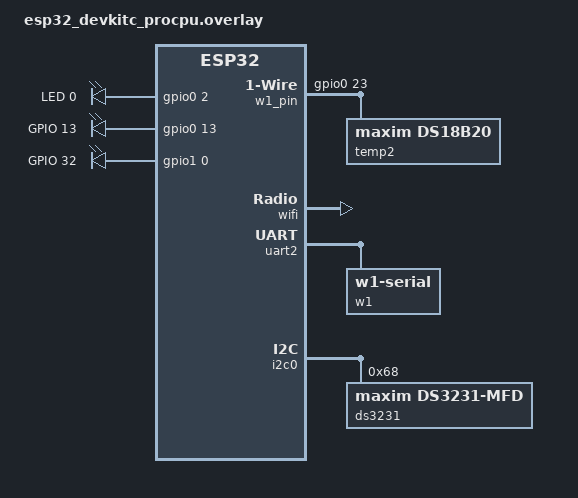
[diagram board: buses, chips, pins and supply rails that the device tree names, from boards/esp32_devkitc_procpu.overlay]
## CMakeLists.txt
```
# SPDX-License-Identifier: Apache-2.0

cmake_minimum_required(VERSION 3.20.0)

find_package(Zephyr REQUIRED HINTS $ENV{ZEPHYR_BASE})
project(wifi)

FILE(GLOB app_sources src/*.cpp)
target_sources(app PRIVATE ${app_sources})
target_include_directories(app PRIVATE src)
```

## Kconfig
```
menu "Zephyr"
source "Kconfig.zephyr"
endmenu





module = APP
module-str = APP

config NET_SAMPLE_SNTP_SERVER_ADDRESS
	string "SNTP server address"
	default "ptbtime1.ptb.de"

config NET_SAMPLE_SNTP_SERVER_PORT
	int "SNTP server port"
	default 123

config NET_SAMPLE_SNTP_SERVER_TIMEOUT_MS
	int "Duration to wait for response"
	default 2000

rsource "../Kconfig"
source "subsys/logging/Kconfig.template.log_config"
```

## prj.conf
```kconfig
CONFIG_EARLY_CONSOLE=y
CONFIG_TEST_RANDOM_GENERATOR=y
CONFIG_STD_CPP17=y
CONFIG_REQUIRES_FULL_LIBCPP=y
CONFIG_INIT_STACKS=y
CONFIG_TURTLE_WEB=y
CONFIG_WEB_TOOLS=y
CONFIG_PUSH_OVER=y

# Hw Stuff
CONFIG_W1=y
CONFIG_W1_SHELL=y
CONFIG_SENSOR=y
CONFIG_RTC=y
CONFIG_SHELL=y

# Kernel Stuff
CONFIG_ZVFS_EVENTFD_MAX=32
CONFIG_ZVFS_OPEN_MAX=16
CONFIG_ZVFS_POLL_MAX=16



# Network Configuration
CONFIG_WIFI_CONNECT=y
CONFIG_NET_STATISTICS=y
CONFIG_NET_STATISTICS_PERIODIC_OUTPUT=n
CONFIG_NET_TX_STACK_SIZE=2048
CONFIG_NET_RX_STACK_SIZE=2048
CONFIG_NET_PKT_RX_COUNT=25
CONFIG_NET_PKT_TX_COUNT=25
CONFIG_NET_BUF_RX_COUNT=25
CONFIG_NET_BUF_TX_COUNT=25
CONFIG_NET_MAX_CONTEXTS=10
CONFIG_NET_HOSTNAME_ENABLE=y
CONFIG_NET_HOSTNAME_UNIQUE=y
CONFIG_NET_HOSTNAME="kroete"
CONFIG_NET_MAX_CONN=16
CONFIG_NET_DHCPV4_SERVER=y
CONFIG_ESP32_WIFI_STA_AUTO_DHCPV4=y
CONFIG_ESP32_WIFI_AP_STA_MODE=y
CONFIG_WIFI_NM=y
CONFIG_WIFI_NM_MAX_MANAGED_INTERFACES=2
CONFIG_NET_CONFIG_AUTO_INIT=n
CONFIG_NET_CONNECTION_MANAGER=y
CONFIG_NET_IF_MAX_IPV4_COUNT=2
CONFIG_NET_MGMT_EVENT_QUEUE_SIZE=10
CONFIG_NET_MGMT_EVENT_STACK_SIZE=4096
CONFIG_NET_SOCKETS_SERVICE_STACK_SIZE=4096
CONFIG_SNTP=y
CONFIG_HTTP_SERVER_MAX_HEADER_LEN=256

# Enable the DNS resolver
CONFIG_DNS_RESOLVER=y
# Enable additional buffers
CONFIG_DNS_RESOLVER_ADDITIONAL_BUF_CTR=5
# Enable additional queries
CONFIG_DNS_RESOLVER_ADDITIONAL_QUERIES=2
CONFIG_DNS_RESOLVER_MAX_SERVERS=2
CONFIG_DNS_SERVER_IP_ADDRESSES=y
CONFIG_DNS_NUM_CONCUR_QUERIES=5

# Use local dnsmasq server for testing
#CONFIG_DNS_SERVER1="[2001:db8::2]:15353"
#CONFIG_DNS_SERVER2="192.0.2.2:15353"

# Google DNS IPv4 and IPv6 servers
CONFIG_DNS_SERVER1="8.8.8.8"
CONFIG_DNS_SERVER2="2001:4860:4860::8888"

# LOG Configuration
CONFIG_NET_LOG=y
CONFIG_W1_LOG_LEVEL_ERR=y
#CONFIG_NET_SOCKETS_LOG_LEVEL_DBG=y
#CONFIG_NET_DHCPV4_SERVER_LOG_LEVEL_DBG=y
#CONFIG_ETHERNET_LOG_LEVEL_DBG=y
#CONFIG_NET_HTTP_SERVER_LOG_LEVEL_DBG=y
CONFIG_WIFI_LOG_LEVEL_ERR=y
#CONFIG_NET_L2_ETHERNET_LOG_LEVEL_DBG=y
#CONFIG_NET_IF_LOG_LEVEL_DBG=y
CONFIG_SYSTEM_WORKQUEUE_STACK_SIZE=4096
CONFIG_NET_TCP_WORKQ_STACK_SIZE=4096
CONFIG_MAIN_STACK_SIZE=4096
CONFIG_SHELL_STACK_SIZE=2048
CONFIG_W1_ZEPHYR_SERIAL_BIT_TIMEOUT=50000

#I2C
CONFIG_I2C=y
CONFIG_I2C_SHELL=y
CONFIG_I2C_LIB=y

#Debug Build
CONFIG_DEBUG=y

#RTC
CONFIG_RTC=y

#Watchdog
CONFIG_WDT_LOG_LEVEL_ERR=y
CONFIG_WATCHDOG=y
CONFIG_WDT_DISABLE_AT_BOOT=n
```

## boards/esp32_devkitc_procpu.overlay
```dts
/*
 * Copyright (c) 2022 Espressif Systems (Shanghai) Co., Ltd.
 *
 * SPDX-License-Identifier: Apache-2.0
 */

&wifi {
	status = "okay";
};

&uart2 {
	status = "okay";
	w1: w1 {
		compatible = "zephyr,w1-serial";
		temp1: ds18b20_1 {
			compatible = "maxim,ds18b20";
			family-code = <0x28>;
			resolution = <12>;
			status = "okay";
		};
	};
};

&i2c0 { /* SDA PTE25, SCL PTE24, ISW PTE26 */
	ds3231: ds3231@68 {
        compatible = "maxim,ds3231-mfd";
        reg = <0x68>;
        status = "okay";

        ds3231_sensor: ds3231_sensor {
                compatible = "maxim,ds3231-sensor";
                status = "okay";
        };

        ds3231_rtc: ds3231_rtc {
                compatible = "maxim,ds3231-rtc";
                status = "okay";
				isw-gpios = <&gpio0 33 (GPIO_PULL_UP | GPIO_ACTIVE_LOW)>;
        };
};
};

/ {
	aliases {
		led0 = &led0;
		marker = &pio13;
		uartw1 = &uart2;
		temp2 = &temp2;
		temp1 = &temp1;
		i2ccontroller = &i2c0;
		w1s = &w1;
		heater = &pio32;
		rtc = &ds3231_rtc;
		rtctmp = &ds3231_sensor;
	};

	wifi_ap: wifi_ap {
		compatible = "espressif,esp32-wifi";
		status = "okay";
	};

	leds {
		compatible = "gpio-leds";
		led0: led_0 {
			gpios = <&gpio0 2 GPIO_ACTIVE_HIGH>;
			label = "LED 0";
		};
		pio13: pio_13 {
			gpios = <&gpio0 13 GPIO_ACTIVE_HIGH>;
			label = "GPIO 13";
		};
		pio32: pio_32 {
			gpios = <&gpio1 0 GPIO_ACTIVE_HIGH>;
			label = "GPIO 32";
		};
	};

	w1_pin: w1_1 {
               compatible = "zephyr,w1-gpio";
               gpios = <&gpio0 23 (GPIO_ACTIVE_HIGH | GPIO_OPEN_DRAIN | GPIO_PULL_UP)>;
			   temp2: ds18b20_2 {
					compatible = "maxim,ds18b20";
					family-code = <0x28>;
					resolution = <12>;
					status = "okay";
				};
       };
};
```

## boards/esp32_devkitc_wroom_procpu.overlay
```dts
/*
 * Copyright (c) 2022 Espressif Systems (Shanghai) Co., Ltd.
 *
 * SPDX-License-Identifier: Apache-2.0
 */

&wifi {
	status = "okay";
};

/ {
	aliases {
		led0 = &led0;
	};

	leds {
		compatible = "gpio-leds";
		led0: led_0 {
			gpios = <&gpio0 2 GPIO_ACTIVE_HIGH>;
			label = "LED 0";
		};
	};
};
```

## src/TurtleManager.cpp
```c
#include "TurtleManager.h"
#include <zephyr/logging/log.h>
LOG_MODULE_REGISTER(TurtleManager, LOG_LEVEL_DBG);
namespace TurtleManager
{

    TurtleManager::TurtleManager(eeprom_24lc512::eeprom_24lc512& iEeprom, ISwitchingCallback& iSwitchingCallback)
    : mEeprom(&iEeprom)
    , mSwCallback(&iSwitchingCallback)
    {
    }

    int TurtleManager::init_eeprom()
    {
        LOG_INF("Init Data");
        mEepromData.mMagic = EEPROM_MAGIC;
        mEepromData.mVersion = EEPROM_VERSION;
        mEepromData.mValidBlock = 0;
        mEepromData.mSwitchData[1] = {};
        mEepromData.mSwitchData[0] = {};
        mEepromData.mSwitchData[0].mStartHeat.tm_hour = 8;
        mEepromData.mSwitchData[0].mEndHeat.tm_hour = 16;
        mEepromData.mSwitchData[0].mTempLevel.val1 = 15;
        int ret = mEeprom->write(0, &mEepromData, sizeof(mEepromData));
        return ret;
    }

    int TurtleManager::update_data()
    {
        int ret = mEeprom->write(0, &mEepromData, sizeof(mEepromData));
        return ret;
    }

    void TurtleManager::switch_heating_state(bool iHeatingState)
    {
        mHeatingState = iHeatingState;
        mSwCallback->switch_to(iHeatingState);
    }

    void TurtleManager::init()
    {
        int ret = mEeprom->read(0, &mEepromData, sizeof(mEepromData));
		LOG_INF("Read: Result: %d", ret);
        if(ret != 0)
        {
            return;
        }
        if(mEepromData.mMagic != EEPROM_MAGIC)
        {
            LOG_INF("EepromData Not valid");
            ret = init_eeprom();
            LOG_INF("init_eeprom: Result: %d", ret);
        }

        if(ret == 0)
        {
            mInit = true;
        }
    }

    void TurtleManager::run(rtc_time iTime, sensor_value iTemperature)
    {
        mCurrentTemperature = iTemperature; 
        uint8_t blk = mEepromData.mValidBlock;
        int32_t iTmp = iTemperature.val1;
        int32_t iTmpSwitch = mEepromData.mSwitchData[blk].mTempLevel.val1;
        int hourStart = mEepromData.mSwitchData[blk].mStartHeat.tm_hour;
        int hourEnd = mEepromData.mSwitchData[blk].mEndHeat.tm_hour;

        // swich to of if outside heating hours
        if(iTime.tm_hour < hourStart || iTime.tm_hour >= hourEnd)
        {
            if(mHeatingState)
            {
                switch_heating_state(false);
            }
            mHeatingOverride = false;
            return;
        }

        if(mHeatingOverride)
        {
            return;
        }

        // if heating swich off if incoming tmp is higher the switching tmp + hysteresis 
        if(mHeatingState)
        {
            if(iTmp > iTmpSwitch + mHYSTERESE)
            {
                switch_heating_state(false);
            }
        }
        // if not heating swich on if incoming tmp is lower the switching tmp
        else
        {
            if(iTmp <= iTmpSwitch)
            {
                switch_heating_state(true);
            }
        }

    }

    int TurtleManager::get_start_time(rtc_time &iStartTime)
    {
        uint8_t blk = mEepromData.mValidBlock;
        iStartTime = mEepromData.mSwitchData[blk].mStartHeat;
        return 0;
    }

    int TurtleManager::get_end_time(rtc_time &oEndTime)
    {
        uint8_t blk = mEepromData.mValidBlock;
        oEndTime = mEepromData.mSwitchData[blk].mEndHeat;
        return 0;
    }

    void TurtleManager::set_start_time(rtc_time& iStartTime)
    {
        uint8_t blk = mEepromData.mValidBlock;
        SwitchingData data = mEepromData.mSwitchData[blk];
        data.mStartHeat = iStartTime;
        blk ^= 1;
        mEepromData.mSwitchData[blk] = data;
        mEepromData.mValidBlock = blk;
        update_data();
    }

    void TurtleManager::set_end_time(rtc_time& iEndTime)
    {
        uint8_t blk = mEepromData.mValidBlock;
        SwitchingData data = mEepromData.mSwitchData[blk];
        data.mEndHeat = iEndTime;
        blk ^= 1;
        mEepromData.mSwitchData[blk] = data;
        mEepromData.mValidBlock = blk;
        update_data();
    }

    void TurtleManager::set_relay_state(int iRelayState)
    {
        mHeatingOverride = true;
        set_heating_state(iRelayState > 0);
    }

    void TurtleManager::update_settings(rtc_time &iStartTime, rtc_time &iEndTime, sensor_value &iSwitchingTemp)
    {
        uint8_t blk = mEepromData.mValidBlock;
        SwitchingData data = mEepromData.mSwitchData[blk];
        data.mEndHeat = iEndTime;
        data.mStartHeat = iStartTime;
        data.mTempLevel = iSwitchingTemp;
        blk ^= 1;
        mEepromData.mSwitchData[blk] = data;
        mEepromData.mValidBlock = blk;
        update_data();
        mHeatingOverride = false;
    }

    int TurtleManager::get_temp_level(sensor_value &oTempLevel)
    {
        uint8_t blk = mEepromData.mValidBlock;
        oTempLevel = mEepromData.mSwitchData[blk].mTempLevel;
        return 0;
    }

    int TurtleManager::set_temp_level(sensor_value iTempLevel)
    {
        uint8_t blk = mEepromData.mValidBlock;
        SwitchingData data = mEepromData.mSwitchData[blk];
        data.mTempLevel = iTempLevel;
        blk ^= 1;
        mEepromData.mSwitchData[blk] = data;
        mEepromData.mValidBlock = blk;
        return update_data();
    }

    int TurtleManager::get_heating_state(bool &oHeatingState)
    {
        oHeatingState = mHeatingState;
        return 0;
    }

    int TurtleManager::set_heating_state(bool iHeatingState)
    {
        switch_heating_state(iHeatingState);
        return 0;
    }

    sensor_value TurtleManager::get_temp()
    {
        return mCurrentTemperature;
    }

    sensor_value TurtleManager::get_switching_temp()
    {
        sensor_value sw_temp;
        get_temp_level(sw_temp);
        return sw_temp;
    }

    rtc_time TurtleManager::get_start_time()
    {
        rtc_time start_time;
        get_start_time(start_time);
        return start_time;
    }

    rtc_time TurtleManager::get_end_time()
    {
        rtc_time end_time;
        get_end_time(end_time);
        return end_time;
    }

    int TurtleManager::get_relay_state()
    {
        return mHeatingState? 1 : 0;
    }

    void TurtleManager::set_switching_temp(sensor_value &iSwitchingTemp)
    {
        set_temp_level(iSwitchingTemp);
    }
} // namespace TurtleManager
```

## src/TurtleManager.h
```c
#pragma once
#include <zephyr/drivers/rtc.h>
#include <zephyr/drivers/sensor.h>
#include "turtle_http_server.h"
#include "24lc512.h"

namespace TurtleManager
{
class ISwitchingCallback
{
public:
virtual ~ISwitchingCallback() = default;
virtual void switch_to(bool iValue) = 0;
};

class TurtleManager : public turtle_web::WebserverDataInterface 
{
public:
    TurtleManager(eeprom_24lc512::eeprom_24lc512& iEeprom, ISwitchingCallback& iSwitchingCallback);
    void init();
    void run(rtc_time iTime, sensor_value iTemperature);
    int get_start_time(struct rtc_time& oStartTime);
    int get_end_time(struct rtc_time& oEndTime);
    int get_temp_level(struct sensor_value& oTempLevel);
    int set_temp_level(struct sensor_value iTempLevel);
    int get_heating_state(bool& oHeatingState);
    int set_heating_state(bool iHeatingState);
    // WebserverDataInterface
    struct sensor_value get_temp() override;
    struct sensor_value get_switching_temp() override;
    struct rtc_time get_start_time() override;
    struct rtc_time get_end_time() override;
    int get_relay_state() override;
    void set_switching_temp(struct sensor_value& iSwitchingTemp) override;
    void set_start_time(struct rtc_time& iStartTimr) override;
    void set_end_time(struct rtc_time& iEndTime) override;
    void set_relay_state(int iRelayState) override;
    void update_settings(struct rtc_time& iStartTime, struct rtc_time& iEndTime, struct sensor_value& iSwitchingTemp) override;

private:
    int init_eeprom();
    int update_data();
    void switch_heating_state(bool iHeatingState);
    static constexpr uint32_t EEPROM_MAGIC = 0x0CAFFEE0;
    static constexpr uint32_t EEPROM_VERSION = 0x1;
    struct SwitchingData
    {
        struct rtc_time mStartHeat;
        struct rtc_time mEndHeat;
        struct sensor_value mTempLevel;
    };
    struct EepromData
    {
        uint32_t mMagic;
        uint32_t mVersion;
        uint8_t mValidBlock;
        SwitchingData mSwitchData[2];
    };
    eeprom_24lc512::eeprom_24lc512* mEeprom;
    EepromData mEepromData;
    sensor_value mCurrentTemperature;
    bool mHeatingState = false;
    bool mInit = false;
    bool mHeatingOverride = false;
    static constexpr int32_t mHYSTERESE = 1;
    ISwitchingCallback* mSwCallback;

};


}// namespace TurtleManager
```

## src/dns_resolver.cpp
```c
#include "dns_resolver.h"
#include <zephyr/logging/log.h>

LOG_MODULE_REGISTER(my_dns_resolver, LOG_LEVEL_DBG);

namespace dns_resolver
{
DnsResolver::DnsResolver()
{
    k_sem_init (&mSemaphor, 0, 1);
}

void DnsResolver::dns_result_cb(enum dns_resolve_status status,
		   struct dns_addrinfo *info,
		   void *user_data)
{
	char hr_addr[NET_IPV6_ADDR_LEN];
	const char *hr_family;
	void *addr;
    DnsResolver* pInstance = reinterpret_cast<DnsResolver*>(user_data);

	switch (status) {
	case DNS_EAI_CANCELED:
		LOG_INF("DNS query was canceled");
		return;
	case DNS_EAI_FAIL:
		LOG_INF("DNS resolve failed");
		return;
	case DNS_EAI_NODATA:
		LOG_INF("Cannot resolve address");
		return;
	case DNS_EAI_ALLDONE:
		LOG_INF("DNS resolving finished");
		return;
	case DNS_EAI_INPROGRESS:
		break;
	default:
		LOG_INF("DNS resolving error (%d)", status);
		return;
	}

	if (!info || !pInstance) {
		return;
	}

    pInstance->set_address_info(*info);

	if (info->ai_family == AF_INET) {
		hr_family = "IPv4";
		addr = &net_sin(&info->ai_addr)->sin_addr;
	} else if (info->ai_family == AF_INET6) {
		hr_family = "IPv6";
		addr = &net_sin6(&info->ai_addr)->sin6_addr;
	} else {
		LOG_ERR("Invalid IP address family %d", info->ai_family);
		return;
	}

	LOG_INF("%s %s address: %s", info->ai_canonname,
		hr_family,
		net_addr_ntop(info->ai_family, addr,
					 hr_addr, sizeof(hr_addr)));
}

void DnsResolver::set_address_info(struct dns_addrinfo iAdrInfo)
{
    if(!mAddressResolved)
    {
        if(mAdrInfo)
        {
            *mAdrInfo = iAdrInfo;
        }
            /* Notify test thread */
	    k_sem_give(&mSemaphor);
        mAddressResolved = true;
    }
    
}

int DnsResolver::resolve(const char *host, uint16_t port,int family, struct dns_addrinfo* oResolveInfo)
{
    if(!oResolveInfo)
    {
        return -1;
    }
    mAdrInfo = oResolveInfo;
    return dns_query(host, port, family, SOCK_DGRAM);
}

int DnsResolver::dns_query(const char *host, uint16_t port, int family, int socktype)
{
	int rv;
    static uint16_t dns_id;
	/* Perform DNS query */
    mAddressResolved = false;
    char addr_str[INET6_ADDRSTRLEN] = {0};
    k_sem_reset(&mSemaphor);
	rv = dns_get_addr_info(host,
				DNS_QUERY_TYPE_A,
				&dns_id,
				dns_result_cb,
				this,
				2 * MSEC_PER_SEC);
	if (rv < 0) {
		LOG_ERR("getaddrinfo failed (%d, errno %d)", rv, errno);
		return rv;
	}

    rv = k_sem_take(&mSemaphor, K_MSEC(CONFIG_NET_SAMPLE_SNTP_SERVER_TIMEOUT_MS));
	if (rv < 0) {
		LOG_INF("dns_get_addr_info response timed out (%d)", rv);
        return rv;
	}
	/* Store the port */
	net_sin(&mAdrInfo->ai_addr)->sin_port = htons(port);
	/* Print the found address */
	zsock_inet_ntop(mAdrInfo->ai_addr.sa_family, &net_sin(&mAdrInfo->ai_addr)->sin_addr, addr_str, sizeof(addr_str));
	LOG_INF("%s -> %s", host, addr_str);
	return 0;
}

} //dns_resolver
```

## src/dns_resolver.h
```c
#include <zephyr/net/net_if.h>
#include <zephyr/net/socket.h>
#include <zephyr/net/socket_service.h>

namespace dns_resolver
{
class DnsResolver
{
public:
    DnsResolver();
    ~DnsResolver() = default;
    int resolve(const char *host, int family, struct dns_addrinfo* oResolveInfo);
private:
    void set_finish();
    void set_address_info(struct dns_addrinfo mAdrInfo);
    static void dns_result_cb(enum dns_resolve_status status, struct dns_addrinfo *info, void *user_data);
    int dns_query(const char *host, int family, int socktype);
    struct k_sem mSemaphor;
    struct dns_addrinfo* mAdrInfo = nullptr;
    bool mAddressResolved = false;
};
} //dns_resolver
```

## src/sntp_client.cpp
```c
#include "sntp_client.h"
#include <zephyr/logging/log.h>
LOG_MODULE_REGISTER(net_sntp_client, LOG_LEVEL_ERR);


namespace sntp_client
{
int sntp_client::do_sntp_request(struct sntp_time& oTime)
{
    return do_sntp(AF_INET, oTime);
}

int sntp_client::do_sntp(int family, struct sntp_time& oTime)
{
	struct sntp_ctx ctx;
	int rv;
    const char *family_str = family == AF_INET ? "IPv4" : "IPv6";

	/* Get SNTP server */
    if(!addr_resolved)
    {
	    rv = mResolver.resolve(CONFIG_NET_SAMPLE_SNTP_SERVER_ADDRESS, family, &addrInfo);
        if (rv != 0) {
            LOG_ERR("Failed to lookup %s SNTP server (%d)", family_str, rv);
            return -1;
        }
        addr_resolved = true;
    }
    struct sockaddr addr;
    socklen_t addr_len;
    addr = addrInfo.ai_addr;
    addr_len =  addrInfo.ai_addrlen;
    char addr_str[INET6_ADDRSTRLEN] = {0};
    /* Store the port */
	net_sin(&addr)->sin_port = htons(CONFIG_NET_SAMPLE_SNTP_SERVER_PORT);
	/* Print the found address */
    const void *src = &(net_sin(&addr)->sin_addr);
	zsock_inet_ntop(addr.sa_family, src , addr_str, sizeof(addr_str));
	LOG_INF("%s -> %s", CONFIG_NET_SAMPLE_SNTP_SERVER_ADDRESS, addr_str);
	rv = sntp_init(&ctx, &addr, addr_len);
	if (rv < 0) {
		LOG_ERR("Failed to init SNTP %s ctx: %d", family_str, rv);
		goto end;
	}

	LOG_DBG("Sending SNTP %s request...", family_str);
    
    rv = sntp_query(&ctx, 4 * MSEC_PER_SEC, &oTime);
    if (rv < 0) 
    {
        LOG_ERR("SNTP %s request failed: %d", family_str, rv);
        goto end;
    }

	LOG_DBG("SNTP Time: %llu", oTime.seconds);

end:
	sntp_close(&ctx);
    return rv;
}
} // namespace sntp_client
```

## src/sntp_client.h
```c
#include <inttypes.h>
#include <zephyr/kernel.h>
#include <zephyr/net/socket.h>
#include <zephyr/net/socket_service.h>
#include <zephyr/net/sntp.h>
#include <arpa/inet.h>
#include <zephyr/net/net_if.h>
#include "dns_resolver.h"
 
namespace sntp_client
{
class sntp_client
{
public:
    sntp_client() = default;
    ~sntp_client() = default;
    int do_sntp_request(struct sntp_time& oTime);
private:
    int do_sntp(int family, struct sntp_time& oTime);
    dns_resolver::DnsResolver mResolver;
    struct dns_addrinfo addrInfo;
    bool addr_resolved = false;

};
} // namespace sntp_client
```

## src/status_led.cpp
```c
#include "status_led.h"
#include <zephyr/kernel.h>

/* The devicetree node identifier for the "led0" alias. */
#define LED0_NODE DT_ALIAS(led0)

namespace StatusLed
{
    /*
    * A build error on this line means your board is unsupported.
    * See the sample documentation for information on how to fix this.
    */
    const gpio_dt_spec StatusLed::led = GPIO_DT_SPEC_GET(LED0_NODE, gpios);
    StatusLed::StatusLed()
    {
        int ret;
        if (!gpio_is_ready_dt(&led)) {
            printf("GPIO not ready");
            return;
        }

        ret = gpio_pin_configure_dt(&led, GPIO_OUTPUT_ACTIVE);
        if (ret < 0) {
            printf("Failed to configure pin");
            return;
        }
    }

    void StatusLed::run(void* iInstance)
    {
        StatusLed* led = reinterpret_cast<StatusLed*>(iInstance);
        led->blink();
    }

    void StatusLed::start()
    {
        const int priority = K_LOWEST_APPLICATION_THREAD_PRIO;
        mTid = 
        k_thread_create(&mThread, mStack, K_THREAD_STACK_SIZEOF(mStack), reinterpret_cast<k_thread_entry_t>(StatusLed::run), this, nullptr, nullptr,priority, 0, K_NO_WAIT);
    }

    void StatusLed::blink()
    {
        bool led_state = true;
        int ret;
        while (1) 
        {
            ret = gpio_pin_set_dt(&led, led_state ? 1 : 0);
            if (ret < 0) {
                printf("Failed to set pin\n");
            }
            if(mState == State::NONE)
            {
                led_state = false;
                //printf("set state to false\n");
            }
            else if(mState == State::CONNECTED)
            {
                led_state = true;
                //printf("set state to true\n");
            }
            else
            {
                led_state = !led_state;
                //printf("toggle: set state to %s\n", led_state ? "true" : "false");
            }
            k_msleep(mSllepTime);
	    }
    }

    void StatusLed::set_state(StatusLed::State iState)
    {
        mState = iState;
    }
}
```

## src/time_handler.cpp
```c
#include "time_handler.h"
#include <time.h>
#include <zephyr/logging/log.h>
#include <zephyr/kernel.h>
LOG_MODULE_REGISTER(TimeHandler, LOG_LEVEL_INF);
#define RTC DEVICE_DT_GET(DT_ALIAS(rtc))
TimeHandler::TimeHandler::TimeHandler()
{
}

rtc_time TimeHandler::TimeHandler::get_time()
{
    struct rtc_time tm;
    time_t sec_time = 1757395728 + (k_uptime_get() / 1000);
    struct tm* tm_time = gmtime(&sec_time);
    int ret = rtc_get_time(RTC, &tm);
    if (ret < 0)
    {
        LOG_INF("Cannot read date time: %d\n", ret);
        memset(&tm,0,sizeof(tm));
        tm.tm_year = tm_time->tm_year;
        tm.tm_mon = tm_time->tm_mon;
        tm.tm_mday = tm_time->tm_mday;
        tm.tm_hour = tm_time->tm_hour;
        tm.tm_min = tm_time->tm_min;
        tm.tm_sec = tm_time->tm_sec;
    }
    tm.tm_hour += isDST_Germany(tm.tm_year, tm.tm_mon, tm.tm_mday, tm.tm_hour) ? UTC_OFFSET + 1 : UTC_OFFSET;
    return tm;
}

// Hilfsfunktion: Wochentag (0 = Sonntag, ..., 6 = Samstag)
// Zeller’s Congruence
int TimeHandler::TimeHandler::weekday(int year, int month, int day) 
{
    if (month < 3) {
        month += 12;
        year -= 1;
    }
    int K = year % 100;
    int J = year / 100;
    int h = (day + 13*(month + 1)/5 + K + K/4 + J/4 + 5*J) % 7;
    return (h + 6) % 7; // Umwandlung zu 0=Sonntag
}

// Letzter Sonntag im Monat
int TimeHandler::TimeHandler::lastSunday(int year, int month)
{
    for (int day = 31; day >= 25; --day) {
        if (weekday(year, month, day) == 0) {
            return day;
        }
    }
    return -1; // Fehler
}

// Pruefen, ob aktuell Sommerzeit (in UTC-Zeit!)
bool TimeHandler::TimeHandler::isDST_Germany(int year, int month, int day, int hour)
{
    year += 1900;
    month += 1;
    int startDay = lastSunday(year, 3);  // März
    int endDay = lastSunday(year, 10);   // Oktober

    if (month < 3 || month > 10)
    {
        return false;
    }
    if (month > 3 && month < 10)
    {
        return true;
    }

    if (month == 3) {
        if (day > startDay) return true;
        if (day < startDay) return false;
        return hour >= 1;  // 2:00 lokal = 1:00 UTC
    }

    if (month == 10) {
        if (day < endDay) return true;
        if (day > endDay) return false;
        return hour < 1;  // 3:00 lokal = 1:00 UTC
    }

    return false;
}

rtc_time TimeHandler::TimeHandler::get_time(struct sntp_time& iSntpTime)
{
    struct rtc_time tm;
    time_t sec_time = iSntpTime.seconds;
	struct tm* tm_time = gmtime(&sec_time);
    int ret = rtc_get_time(RTC, &tm);
    if (ret < 0)
    {
        LOG_INF("Cannot read rtc date time: %d. Using NTP Time\n", ret);
        memset(&tm,0,sizeof(tm));
        tm.tm_year = tm_time->tm_year;
        tm.tm_mon = tm_time->tm_mon;
        tm.tm_mday = tm_time->tm_mday;
        tm.tm_hour = tm_time->tm_hour;
        tm.tm_min = tm_time->tm_min;
        tm.tm_sec = tm_time->tm_sec;
        tm.tm_hour += isDST_Germany(tm.tm_year, tm.tm_mon, tm.tm_mday, tm.tm_hour) ? UTC_OFFSET + 1 : UTC_OFFSET;
        return tm;
    }
    else
    {
        LOG_DBG("RTC: %02d/%02d/%02d %02d:%02d:%02d", 
            tm.tm_year + 1900,
            tm.tm_mon + 1,
            tm.tm_mday,
            tm.tm_hour,
            tm.tm_min,
            tm.tm_sec);
        if(tm_time)
        {
            if( tm.tm_year != tm_time->tm_year ||
                tm.tm_mon != tm_time->tm_mon   ||
                tm.tm_mday != tm_time->tm_mday ||
                tm.tm_hour != tm_time->tm_hour ||
                tm.tm_min != tm_time->tm_min   ||
                abs(tm.tm_sec - tm_time->tm_sec) > 5
                )
            {
                LOG_INF("UPDATE RTC");
                tm.tm_year = tm_time->tm_year;
                tm.tm_mon = tm_time->tm_mon;
                tm.tm_mday = tm_time->tm_mday;
                tm.tm_hour = tm_time->tm_hour;
                tm.tm_min = tm_time->tm_min;
                tm.tm_sec = tm_time->tm_sec;
                ret = rtc_set_time(RTC, &tm);
                if (ret < 0)
                {
                    LOG_INF("Cannot set date time: %d\n", ret);
                }
            }
        }
    }
    tm.tm_hour += isDST_Germany(tm.tm_year, tm.tm_mon, tm.tm_mday, tm.tm_hour) ? UTC_OFFSET + 1 : UTC_OFFSET;
    return tm;
}
```

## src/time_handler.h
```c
#pragma once
#include <zephyr/drivers/rtc.h>
#include <zephyr/net/sntp.h>

namespace TimeHandler
{
class TimeHandler
{
public:
    TimeHandler();
    struct rtc_time get_time();
    struct rtc_time get_time(struct sntp_time& iSntpTime);
private:
    int weekday(int year, int month, int day);
    int lastSunday(int year, int month);
    bool isDST_Germany(int year, int month, int day, int hour);
    static constexpr int UTC_OFFSET = 1;
};
} // namespace TimeHnadler
```

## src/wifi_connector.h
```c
#include <zephyr/net/net_if.h>
#include <zephyr/net/net_event.h>
#include <zephyr/net/wifi_mgmt.h>
#include <zephyr/net/wifi_utils.h>
#include "status_led.h"


namespace wificonnector
{
class WifiAutoConnect
{
    public:
        static WifiAutoConnect* get_instance();
        void connect();
        enum class ConnectionState
        {
            IDLE,
            CONNECTING,
            CONNECTED,
        };
        ConnectionState get_state();
        void set_state(ConnectionState iConnectionState);
    private:
        
        ConnectionState mState = ConnectionState::IDLE;
        static void net_mgmt_event_handler(net_mgmt_event_callback *cb,
					 uint32_t mgmt_event, net_if *iface);
        static constexpr uint32_t MGMT_EVENTS = (NET_EVENT_WIFI_CONNECT_RESULT | NET_EVENT_WIFI_DISCONNECT_RESULT);
        static void handle_wifi_connect_result(net_mgmt_event_callback *cb);
        static void handle_wifi_disconnect_result(net_mgmt_event_callback *cb);
        WifiAutoConnect();
        static WifiAutoConnect* mInstance;
        struct net_mgmt_event_callback mWifiMgmtCb;
        static constexpr char* SSID = "HITRON-9090";
        static constexpr char* PW = "8KI530DQXELS";
        StatusLed::StatusLed mLed;

};

WifiAutoConnect::WifiAutoConnect() 
{
    net_mgmt_init_event_callback(&mWifiMgmtCb,
				     net_mgmt_event_handler,
				     MGMT_EVENTS);

	net_mgmt_add_event_callback(&mWifiMgmtCb);
    mLed.start();
};

WifiAutoConnect* WifiAutoConnect::get_instance()
{
    if(!mInstance)
    {
        mInstance = new WifiAutoConnect();
    }
    return mInstance;
}

void WifiAutoConnect::handle_wifi_connect_result(net_mgmt_event_callback *cb)
{
    const struct wifi_status *status =
		(const struct wifi_status *) cb->info;
    WifiAutoConnect* instance = get_instance();

	if (status->status) {
		printk("Connection request failed (%d)\n", status->status);
        instance->set_state(ConnectionState::IDLE);
        instance->connect();
	} else {
        instance->set_state(ConnectionState::CONNECTED);
		printk("Connected to %s\n", SSID);
	}
}

void WifiAutoConnect::handle_wifi_disconnect_result(net_mgmt_event_callback *cb)
{
    const struct wifi_status *status =
		(const struct wifi_status *) cb->info;

	printk("Disconnected\n");
    WifiAutoConnect* instance = get_instance();
    instance->set_state(ConnectionState::IDLE);
    instance->connect();

}

void WifiAutoConnect::net_mgmt_event_handler(net_mgmt_event_callback *cb,
				    uint32_t mgmt_event, net_if *iface)
{
	switch (mgmt_event) {
	case NET_EVENT_WIFI_CONNECT_RESULT:
		handle_wifi_connect_result(cb);
		break;
	case NET_EVENT_WIFI_DISCONNECT_RESULT:
		handle_wifi_disconnect_result(cb);
		break;
	default:
		break;
	}
}

void WifiAutoConnect::connect()
{
   if(mState == ConnectionState::IDLE)
   {
    printk("Establish connection to : %s\n", SSID);
    mState = ConnectionState::CONNECTING;
    mLed.set_state(StatusLed::StatusLed::State::CONNECTING);
    struct net_if *iface = net_if_get_first_wifi();
    struct wifi_connect_req_params cnx_params = { 0 }; 
    cnx_params.band = WIFI_FREQ_BAND_UNKNOWN;
    cnx_params.channel = WIFI_CHANNEL_ANY;
    cnx_params.ssid = reinterpret_cast<const uint8_t*>(SSID);
    cnx_params.ssid_length = strlen(reinterpret_cast<const char*>(cnx_params.ssid));
    cnx_params.security = WIFI_SECURITY_TYPE_PSK;
    cnx_params.psk = reinterpret_cast<const uint8_t*>(PW);
    cnx_params.psk_length = strlen(reinterpret_cast<const char*>(cnx_params.psk));

    int ret = net_mgmt(NET_REQUEST_WIFI_CONNECT, iface,
                &cnx_params, sizeof(struct wifi_connect_req_params));

        if (ret)
        {
            printk("Connection request failed with error: %d\n", ret);
            mState = ConnectionState::IDLE;
            mLed.set_state(StatusLed::StatusLed::State::NONE);
            return;
        }
    }   

}

WifiAutoConnect::ConnectionState WifiAutoConnect::get_state()
{
    return mState;
}

void WifiAutoConnect::set_state(WifiAutoConnect::ConnectionState iConnectionState)
{
    mState = iConnectionState;
    switch (mState)
    {
    case WifiAutoConnect::ConnectionState::IDLE:
        mLed.set_state(StatusLed::StatusLed::State::NONE);
        break;
    case WifiAutoConnect::ConnectionState::CONNECTING:
        mLed.set_state(StatusLed::StatusLed::State::CONNECTING);
        break;
    case WifiAutoConnect::ConnectionState::CONNECTED:
        mLed.set_state(StatusLed::StatusLed::State::CONNECTED);
        break;
    default:
        mLed.set_state(StatusLed::StatusLed::State::NONE);
        break;
    }
}
}
```

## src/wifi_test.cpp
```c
/*
 * Copyright (c) 2016 Intel Corporation.
 *
 * SPDX-License-Identifier: Apache-2.0
 */
#include <zephyr/drivers/uart.h>
#include <zephyr/kernel.h>
#include <zephyr/drivers/sensor.h>
#include <zephyr/drivers/rtc.h>
#include <zephyr/drivers/w1.h>
#include <zephyr/drivers/gpio.h>

#include <zephyr/net/net_event.h>
#include <zephyr/drivers/watchdog.h>
#include "time_handler.h"
#include <errno.h>
#ifdef CONFIG_WIFI_CONNECT
#include "wifi_connector.h"
#endif

#include "sntp_client.h"
#include "i2ccontroller.h"
#include "24lc512.h"
#include "TurtleManager.h"
#ifdef CONFIG_PUSH_OVER
#include "pushover.h"
#endif

#ifdef CONFIG_TURTLE_WEB
#include "turtle_http_server.h"
static turtle_web::webserver sWebServer;
#endif

static sntp_client::sntp_client sSntpClient;

#define DEV_OUT   DEVICE_DT_GET(DT_ALIAS(uartw1))
#define DEV_TEMP2   DEVICE_DT_GET(DT_ALIAS(temp2))
#define DEV_TEMP1   DEVICE_DT_GET(DT_ALIAS(temp1))
#define W1   DEVICE_DT_GET(DT_ALIAS(w1s))
#define HEATER   DEVICE_DT_GET(DT_ALIAS(heater))

const struct device* i2cdev =  DEVICE_DT_GET(DT_ALIAS(i2ccontroller));
static I2cController::I2cController sI2cController(i2cdev);
static I2cController::I2cDevice sEeprom(0x50,2);
static eeprom_24lc512::eeprom_24lc512 s24lc512(sEeprom, sI2cController);
const gpio_dt_spec HeatSwitch = GPIO_DT_SPEC_GET(DT_ALIAS(heater), gpios);

static struct wdt_timeout_cfg wdt_config = {
	/* Expire watchdog after max window */
	.window = {
        .min = 0U,
        .max = 15000U,
    },
	/* Reset SoC when watchdog timer expires. */
	.flags = WDT_FLAG_RESET_SOC,
};

#ifdef CONFIG_PUSH_OVER
static PushOver::PushOver sPushOver("a3p96izz9t8qab8bvpn8y66xayokxa","utboec9kw22vtmh4pkgqvgijcxbqba");
#endif

#ifdef CONFIG_WIFI_CONNECT
wificonnector::WifiAutoConnect* wificonnector::WifiAutoConnect::mInstance=nullptr;
class conifc: public wificonnector::IConnecttionCallback
{
public:
	void connection_st_state_changed(wificonnector::IConnecttionCallback::State iState) override
	{
		LOG_INF("connection_st_state_changed %d", static_cast<int>(iState));
#ifdef CONFIG_TURTLE_WEB
		switch (iState)
		{
		case wificonnector::IConnecttionCallback::State::CONNECTED:
			st_connected = true;
			if(!server_running)
			{
				LOG_INF("Starting Web Server\n");
				sWebServer.init();
				sWebServer.start();
				server_running = true;
			}
			break;
		case wificonnector::IConnecttionCallback::State::DISCONNECTED:
			st_connected = false;
			if(!ap_connected)
			{
				LOG_INF("Stopping Web Server\n");
				sWebServer.stop();
				server_running = false;
			}
			
			break;
		default:
			break;
		}
#endif	
	};	

	void connection_ap_state_changed(wificonnector::IConnecttionCallback::State iState) override
	{
		LOG_INF("connection_ap_state_changed %d", static_cast<int>(iState));
#ifdef CONFIG_TURTLE_WEB
		switch (iState)
		{
		case wificonnector::IConnecttionCallback::State::CONNECTED:
			ap_connected = true;
			if(!server_running)
			{
				LOG_INF("Starting Web Server");
				sWebServer.init();
				sWebServer.start();
				server_running = true;
			}
			break;
		case wificonnector::IConnecttionCallback::State::DISCONNECTED:
			ap_connected = false;
			if(!st_connected)
			{
				LOG_INF("Stopping Web Server");
				sWebServer.stop();
				server_running = false;
			}
			
			break;
		default:
			break;
		}
#endif	
	}

	bool do_sntp_request()
	{
		return st_connected && !ap_connected;
	}
private:
bool st_connected = false;
bool ap_connected = false;
bool server_running = false;
};

static conifc sConIfc;
#endif

class HeatingSwitch : public TurtleManager::ISwitchingCallback
{
public:
HeatingSwitch() {}
~HeatingSwitch() override {}
void switch_to(bool iValue) override
{
	gpio_pin_set_dt(&HeatSwitch, iValue ? 1 : 0);
	//gpio_pin_set_dt(&marker, iValue ? 1 : 0);
	LOG_INF("switch_to %s", iValue ? "ON" : "OFF");
}

void init()
{
	int ret;
	if (!gpio_is_ready_dt(&HeatSwitch)) {
		LOG_ERR("GPIO not ready HeatSwitch");
		return;
	}
	// if (!gpio_is_ready_dt(&marker)) {
	// 	LOG_ERR("GPIO not ready marker");
	// 	return;
	// }

	ret = gpio_pin_configure_dt(&HeatSwitch, GPIO_OUTPUT_ACTIVE);
	if (ret < 0) {
		LOG_ERR("Failed to configure pin HeatSwitch");
		return;
	}

	// ret = gpio_pin_configure_dt(&marker, GPIO_OUTPUT_ACTIVE);
	// if (ret < 0) {
	// 	LOG_ERR("Failed to configure pin HeatSwitch");
	// 	return;
	// }

	gpio_pin_set_dt(&HeatSwitch, 0);
	//gpio_pin_set_dt(&marker, 0);
}
};

static HeatingSwitch sHeatSwitch;
static TurtleManager::TurtleManager sTurtelManager(s24lc512, sHeatSwitch);
static TimeHandler::TimeHandler sTimeHandler;
static bool NET_READY = false;

static void man_net_mgmt_event_handler(net_mgmt_event_callback *cb, long long unsigned int mgmt_event, net_if *iface)
{
	int i = 0;

	if (mgmt_event != NET_EVENT_IPV4_ADDR_ADD && mgmt_event != NET_EVENT_IPV4_ADDR_DEL) {
		return;
	}
	switch(mgmt_event)
	{
	case NET_EVENT_IPV4_ADDR_ADD:
	{
		if(iface != net_if_get_wifi_sta())
		{
			break;
		}
		LOG_INF("IP ADDRESS READY");
		NET_READY = true;
		break;
	}
	default: 
	{
		if(iface != net_if_get_wifi_sta())
		{
			break;
		}
		LOG_INF("IP ADDRESS NOT READY");
		NET_READY = false;
		break;
	}
	}

	if(NET_READY)
	{
		for (i = 0; i < NET_IF_MAX_IPV4_ADDR; i++) {
			char buf[NET_IPV4_ADDR_LEN];

			if (iface->config.ip.ipv4->unicast[i].ipv4.addr_type !=
								NET_ADDR_DHCP) {
				continue;
			}

			LOG_INF("   Address[%d]: %s", net_if_get_by_iface(iface),
				net_addr_ntop(AF_INET,
					&iface->config.ip.ipv4->unicast[i].ipv4.address.in_addr,
							buf, sizeof(buf)));
			LOG_INF("    Subnet[%d]: %s", net_if_get_by_iface(iface),
				net_addr_ntop(AF_INET,
						&iface->config.ip.ipv4->unicast[i].netmask,
						buf, sizeof(buf)));
			LOG_INF("    Router[%d]: %s", net_if_get_by_iface(iface),
				net_addr_ntop(AF_INET,
							&iface->config.ip.ipv4->gw,
							buf, sizeof(buf)));
			LOG_INF("Lease time[%d]: %u seconds", net_if_get_by_iface(iface),
				iface->config.dhcpv4.lease_time);
		}
	}	
}
static constexpr long long unsigned int MAIN_MGMT_EVENTS = ( NET_EVENT_IPV4_ADDR_ADD | NET_EVENT_IPV4_ADDR_DEL);
static struct net_mgmt_event_callback main_gmt_cb;

int main(void)
{
net_mgmt_init_event_callback(&main_gmt_cb,
				     man_net_mgmt_event_handler,
				     MAIN_MGMT_EVENTS);
net_mgmt_add_event_callback(&main_gmt_cb);
#ifdef CONFIG_WIFI_CONNECT
	wificonnector::WifiAutoConnect* autoConnect = wificonnector::WifiAutoConnect::get_instance();
	autoConnect->set_callbackifc(&sConIfc);
	k_msleep(1000);
	autoConnect->connect();
#endif

	k_thread_priority_set (	k_current_get (), K_LOWEST_APPLICATION_THREAD_PRIO);

	sHeatSwitch.init();
	sTurtelManager.init();
#ifdef CONFIG_TURTLE_WEB
	sWebServer.set_data_interface(&sTurtelManager);
#endif

	const device *const wdt = DEVICE_DT_GET(DT_ALIAS(watchdog0));
	int wdt_channel_id = wdt_install_timeout(wdt, &wdt_config);
	if (wdt_channel_id < 0)
	{
	 	LOG_ERR("Watchdog install error\n");
	 	return 0;
	 }
	int err = wdt_setup(wdt, WDT_OPT_PAUSE_HALTED_BY_DBG);
	if (err < 0)
	{
	 	LOG_ERR("Watchdog setup error\n");
	 	return 0;
	}	
	

	for(;;)
	{
		wdt_feed(wdt, wdt_channel_id);
		struct sensor_value temp;
		temp.val1 = 10;
		temp.val2 = 0;
		int res = sensor_sample_fetch(DEV_TEMP1);
		if (res != 0) {
			LOG_INF("sample_fetch() failed: %d\n", res);
		}
		if(res == 0)
		{
			res = sensor_channel_get(DEV_TEMP1, SENSOR_CHAN_AMBIENT_TEMP, &temp);
			if (res != 0) {
				LOG_INF("channel_get() failed: %d\n", res);
			}
		} 
		LOG_INF("Temp:  %d.%06d", temp.val1, temp.val2);
		sWebServer.set_temp(temp);

		
		struct rtc_time time = {0};;
		if(NET_READY && sConIfc.do_sntp_request())
		{
			struct sntp_time oTime;
			if(sSntpClient.do_sntp_request(oTime) == 0)
			{
				time = sTimeHandler.get_time(oTime);
			}
			else
			{
				time = sTimeHandler.get_time();
			}
		}
		else
		{
			time = sTimeHandler.get_time();
		}

		if(time.tm_year != 0)
		{
			LOG_INF("TIME: %02d/%02d/%02d %02d:%02d:%02d", 
				time.tm_year + 1900,
				time.tm_mon + 1,
				time.tm_mday,
				time.tm_hour,
				time.tm_min,
				time.tm_sec);
			sTurtelManager.run(time, temp);
		}

#ifdef CONFIG_PUSH_OVER
		if(NET_READY)
		{
			sPushOver.send_message("Hallo");
		}
#endif
		k_msleep(10000);
		//k_yield ();
	}

	
	return 0;
}
```
